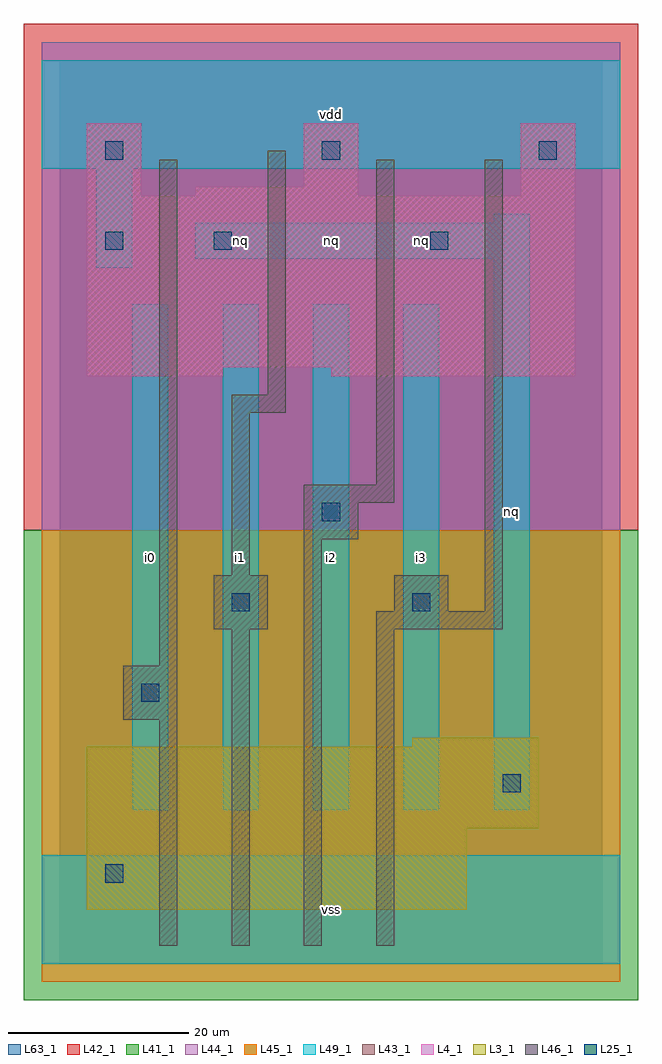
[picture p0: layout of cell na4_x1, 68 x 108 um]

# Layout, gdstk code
import gdstk
lib = gdstk.Library(unit=1e-6, precision=1e-09)
def R(c, l, rs):  # rectangles x0, y0, x1, y1
    for r in rs: c.add(gdstk.rectangle(r[:2], r[2:], *l))
def A(c, l, x, y, w, h, nx, ny, dx, dy):  # array of equal rectangles
    R(c, l, [(x+i*dx, y+j*dy, x+i*dx+w, y+j*dy+h) for i in range(nx) for j in range(ny)])
L3_1 = (3, 1)
L4_1 = (4, 1)
L25_1 = (25, 1)
L41_1 = (41, 1)
L42_1 = (42, 1)
L43_1 = (43, 1)
L44_1 = (44, 1)
L45_1 = (45, 1)
L46_1 = (46, 1)
L49_1 = (49, 1)
L63_1 = (63, 1)

na4_x1 = lib.new_cell('na4_x1')
R(na4_x1, L3_1, [(3,6,45,15), (3,15,53,24), (39,24,53,25)])
R(na4_x1, L4_1, [(3,65,18,66), (30,65,57,66), (3,66,57,85), (3,85,9,93), (15,85,33,86), (51,85,57,93), (27,86,33,93)])
A(na4_x1, L25_1, 5, 89, 2, 2, 3, 1, 24, 0)
R(na4_x1, L25_1, [(5,9,7,11), (49,19,51,21), (9,29,11,31), (19,39,21,41), (39,39,41,41), (29,49,31,51), (5,79,7,81), (17,79,19,81), (41,79,43,81)])
R(na4_x1, L41_1, [(-4,-4,64,48)])
R(na4_x1, L42_1, [(-4,48,64,104)])
R(na4_x1, L43_1, [(3,6,45,15), (3,15,53,24), (39,24,53,25), (3,65,18,66), (30,65,57,66), (3,66,57,85), (3,85,9,93), (15,85,33,86), (51,85,57,93), (27,86,33,93)])
R(na4_x1, L44_1, [(-2,48,62,102)])
R(na4_x1, L45_1, [(-2,-2,62,48)])
R(na4_x1, L46_1, [(11,2,13,27), (19,2,21,37), (27,2,29,47), (35,2,37,37), (7,27,13,33), (11,33,13,89), (17,37,23,43), (35,37,49,39), (37,39,43,43), (47,39,49,89), (19,43,21,61), (27,47,33,51), (27,51,37,53), (35,53,37,89), (19,61,25,63), (23,63,25,90)])
A(na4_x1, L49_1, 8, 17, 4, 56, 4, 1, 10, 0)
R(na4_x1, L49_1, [(-2,0,62,12), (48,17,52,78), (4,77,8,88), (15,78,52,82), (48,82,52,83), (-2,88,62,100)])
R(na4_x1, L63_1, [(0,0,60,100)])
na4_x1.add(gdstk.Label('i0', (10,45), layer=49, texttype=1))
na4_x1.add(gdstk.Label('i1', (20,45), layer=49, texttype=1))
na4_x1.add(gdstk.Label('nq', (20,80), layer=49, texttype=1))
na4_x1.add(gdstk.Label('vss', (30,6), layer=49, texttype=1))
na4_x1.add(gdstk.Label('i2', (30,45), layer=49, texttype=1))
na4_x1.add(gdstk.Label('i3', (40,45), layer=49, texttype=1))
na4_x1.add(gdstk.Label('nq', (30,80), layer=49, texttype=1))
na4_x1.add(gdstk.Label('vdd', (30,94), layer=49, texttype=1))
na4_x1.add(gdstk.Label('nq', (40,80), layer=49, texttype=1))
na4_x1.add(gdstk.Label('nq', (50,50), layer=49, texttype=1))

lib.write_gds('na4_x1.gds')
